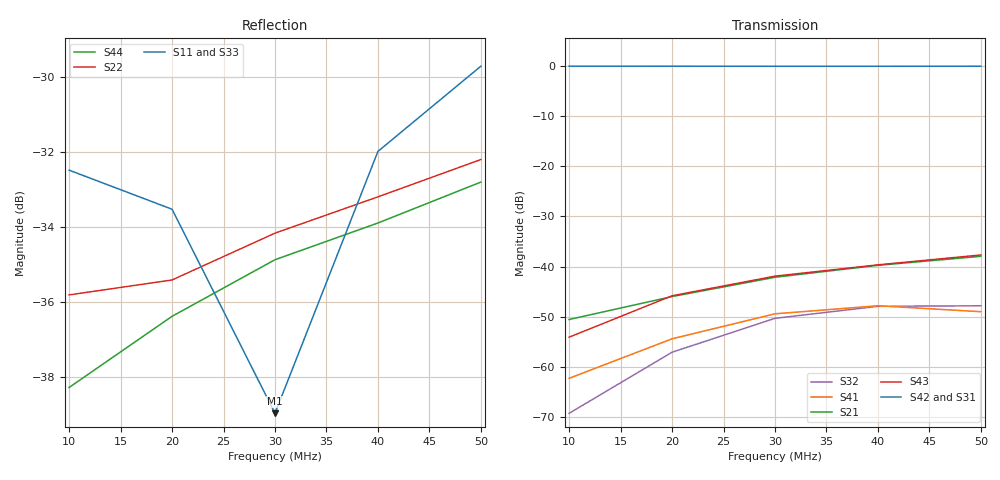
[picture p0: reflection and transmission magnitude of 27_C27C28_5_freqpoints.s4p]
! S11 = S11
! S12 = S12
! S13 = S13
! S14 = S14
! S21 = S21
! S22 = S22
! S23 = S23
! S24 = S24
! S31 = S31
! S32 = S32
! S33 = S33
! S34 = S34
! S41 = S41
! S42 = S42
! S43 = S43
! S44 = S44
! FILE: C:\Documents and Settings\cilab\Desktop\Test\JZ_switch\27_C27C28.s4p
!$DUT_CFG_DESC: Default 4 Port Configuration
!$NUMBER_PORTS: 4
!$DIFF_PORT_MAP: 1|2P|2|2P|0|UC|0|UC
!$PORT_MAP: 1|1|<<<<<<|2|2|>>>>>>|3|3|<<<<<<|4|4|>>>>>>
# GHz S MA R 50.00
! FREQ  S11  S12  S13  S14
!  S21  S22  S23  S24
!  S31  S32  S33  S34
!  S41  S42  S43  S44
!  MAG  ANG  MAG  ANG  MAG  ANG  MAG  ANG
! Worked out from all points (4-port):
!   5 points, 10 MHz to 50 MHz, reference 50 ohm
!   strongest paths, dB at 10 MHz, 20 MHz, 30 MHz, 40 MHz, 50 MHz:
!     S42: -0.1, -0.1, -0.1, -0.1, -0.1
!     S31: -0.2, -0.1, -0.1, -0.2, -0.1
!     S43: -54.0, -45.8, -41.9, -39.7, -37.7
!     S21: -50.5, -46.0, -42.1, -39.7, -38.0
!     S41: -62.2, -54.4, -49.4, -47.8, -49.0
!     S32: -69.2, -57.0, -50.3, -47.9, -47.8
!   lowest |S11| = -39.0 dB at 30 MHz (marker M1), VSWR 1.02, Z = 51.1 + j0.37 ohm
!   |S11| at or under -10 dB: start of sweep to end of sweep
0.01  0.02377 26.7  0.00331 70.9  0.9834 -3.6  0.001226 -124.5
      0.002975 82.3  0.0162 13.8  0.000778 -98.2  0.988 -3.6
      0.9824 -3.6  0.000347 -29.2  0.0231 25.4  0.002613 89.8
      0.000773 112.5  0.9853 -3.6  0.001985 53.2  0.01219 6.6
0.02  0.02108 -3.7  0.005169 79.0  0.9886 -6.8  0.002048 -110.0
      0.00503 76.7  0.01696 19.7  0.001949 -115.0  0.9871 -6.9
      0.9842 -6.8  0.001406 -137.2  0.0212 0.8  0.004858 78.3
      0.001912 -135.1  0.9845 -6.7  0.005124 76.8  0.01517 19.9
0.03  0.01126 18.8  0.007759 74.2  0.9886 -10.2  0.002752 -113.1
      0.007829 74.9  0.01959 22.5  0.002808 -112.8  0.9863 -10.2
      0.9832 -10.2  0.003057 -122.5  0.01121 24.4  0.007833 76.0
      0.003389 -116.2  0.9832 -10.1  0.008033 75.9  0.01805 24.9
0.04  0.02518 41.3  0.01028 70.7  0.9878 -13.7  0.003663 -114.7
      0.01029 71.5  0.0219 22.6  0.003685 -116.6  0.9853 -13.6
      0.9828 -13.7  0.004024 -116.2  0.0253 45.3  0.01047 73.3
      0.004077 -110.3  0.9831 -13.5  0.01041 74.2  0.02021 24.0
0.05  0.03271 16.8  0.0128 68.1  0.9851 -17.0  0.004502 -117.9
      0.01265 68.1  0.02456 25.0  0.004408 -119.6  0.9839 -17.0
      0.9829 -17.0  0.004078 -108.5  0.03122 20.5  0.01299 70.3
      0.003557 -117.1  0.9843 -16.8  0.01305 72.7  0.02291 26.9
